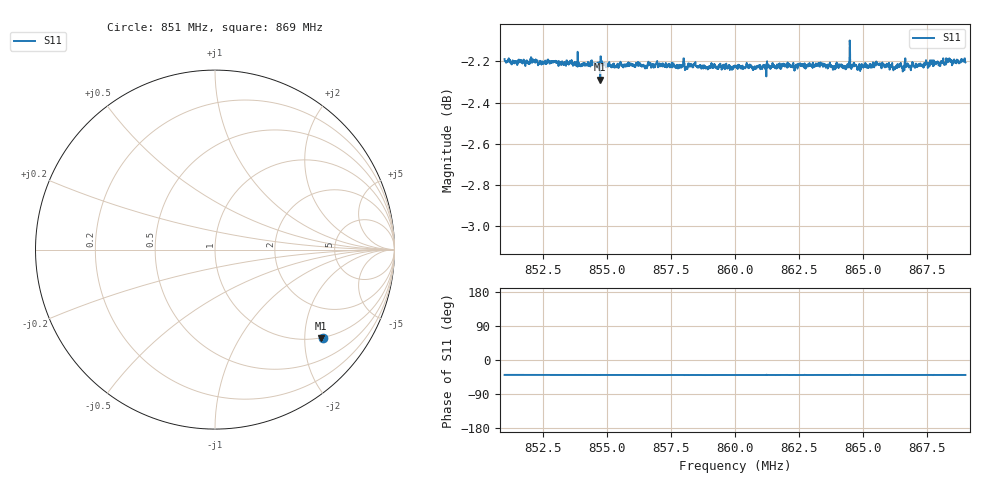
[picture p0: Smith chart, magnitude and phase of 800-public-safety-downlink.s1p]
! Calibrated averaged scanner-service zoom
# Hz S RI R 50
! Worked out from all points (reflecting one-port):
!   2001 points, 851 MHz to 869 MHz, reference 50 ohm
!   lowest |S11| = -2.3 dB at 854.74 MHz (marker M1), VSWR 7.63, Z = 50 - j120 ohm
!   phase of S11 starts at -39 deg and turns -0 deg over the sweep
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8.51e8  0.6012 -0.4925
8.51432e8  0.6003 -0.4922
8.5163e8  0.6001 -0.4923
8.519e8  0.5997 -0.4925
8.52998e8  0.5984 -0.4938
8.5325e8  0.5988 -0.4926
8.53547e8  0.5989 -0.4935
8.53979e8  0.5979 -0.4916
8.54438e8  0.5975 -0.4939
8.54735e8  0.5903 -0.4918
8.555e8  0.5974 -0.4937
8.5775e8  0.5974 -0.4933
8.6e8  0.5964 -0.493
8.6225e8  0.5963 -0.493
8.62547e8  0.5978 -0.4939
8.62781e8  0.596 -0.4935
8.63312e8  0.5966 -0.493
8.64257e8  0.5972 -0.4917
8.645e8  0.5988 -0.4927
8.64689e8  0.5977 -0.493
8.64842e8  0.5981 -0.4923
8.65598e8  0.5978 -0.4929
8.66192e8  0.596 -0.492
8.66399e8  0.5967 -0.4942
8.6675e8  0.597 -0.4937
8.67119e8  0.5962 -0.4935
8.68361e8  0.5999 -0.4941
8.69e8  0.5989 -0.4931
